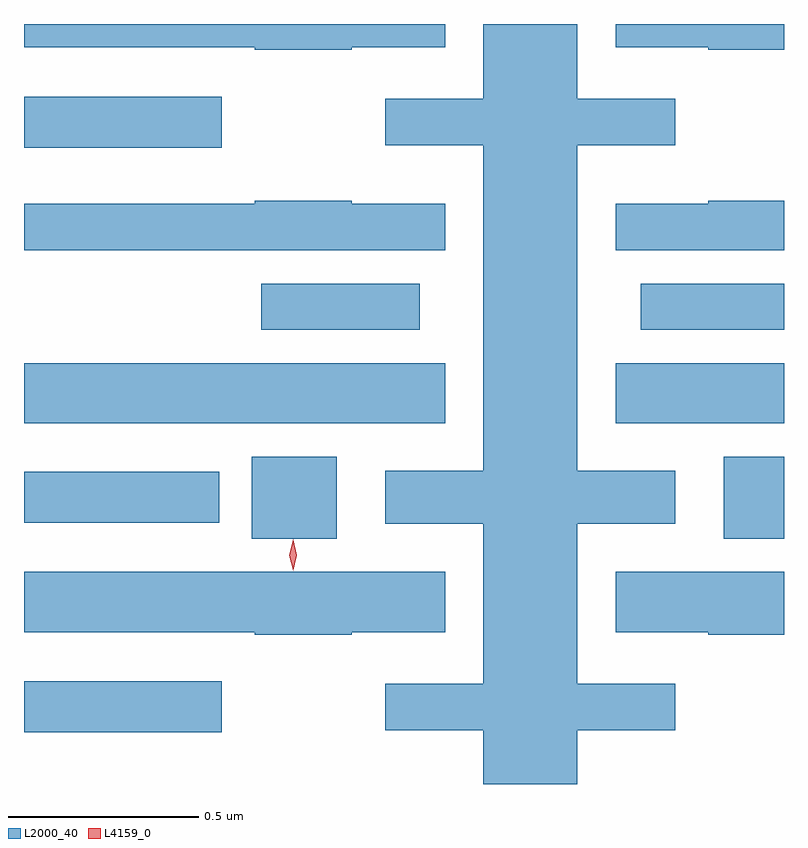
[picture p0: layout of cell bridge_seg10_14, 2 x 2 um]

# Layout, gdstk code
import gdstk
lib = gdstk.Library(unit=1e-6, precision=1e-09)
def R(c, l, rs):  # rectangles x0, y0, x1, y1
    for r in rs: c.add(gdstk.rectangle(r[:2], r[2:], *l))
def P(c, l, *ps):  # polygons
    for p in ps: c.add(gdstk.Polygon(p, *l))
L2000_40 = (2000, 40)
L4159_0 = (4159, 0)

bridge_seg10_14 = lib.new_cell('bridge_seg10_14')
R(bridge_seg10_14, L2000_40, [(1055.268,1280.348,1055.788,1280.482), (1055.867,1280.858,1056.091,1281.073), (1057.109,1280.858,1057.268,1281.073), (1055.268,1280.9,1055.782,1281.034), (1055.268,1281.161,1056.376,1281.319), (1056.825,1281.161,1057.268,1281.319), (1055.892,1281.407,1056.31,1281.529), (1056.891,1281.407,1057.268,1281.529), (1055.268,1281.887,1055.788,1282.021)])
P(bridge_seg10_14, L2000_40, [(1056.724,1280.354),(1056.982,1280.354),(1056.982,1280.476),(1056.724,1280.476),(1056.724,1280.897),(1056.982,1280.897),(1056.982,1281.037),(1056.724,1281.037),(1056.724,1281.893),(1056.982,1281.893),(1056.982,1282.015),(1056.724,1282.015),(1056.724,1282.212),(1056.476,1282.212),(1056.476,1282.015),(1056.219,1282.015),(1056.219,1281.893),(1056.476,1281.893),(1056.476,1281.037),(1056.219,1281.037),(1056.219,1280.897),(1056.476,1280.897),(1056.476,1280.476),(1056.219,1280.476),(1056.219,1280.354),(1056.476,1280.354),(1056.476,1280.212),(1056.724,1280.212)],
  [(1057.268,1282.212),(1056.825,1282.212),(1056.825,1282.151),(1057.069,1282.151),(1057.069,1282.144),(1057.268,1282.144)],
  [(1056.131,1282.151),(1056.376,1282.151),(1056.376,1282.212),(1055.268,1282.212),(1055.268,1282.151),(1055.875,1282.151),(1055.875,1282.144),(1056.131,1282.144)],
  [(1057.268,1281.747),(1057.069,1281.747),(1057.069,1281.739),(1056.825,1281.739),(1056.825,1281.617),(1057.268,1281.617)],
  [(1056.376,1281.739),(1056.131,1281.739),(1056.131,1281.747),(1055.875,1281.747),(1055.875,1281.739),(1055.268,1281.739),(1055.268,1281.617),(1056.376,1281.617)],
  [(1057.268,1280.77),(1056.825,1280.77),(1056.825,1280.612),(1057.069,1280.612),(1057.069,1280.605),(1057.268,1280.605)],
  [(1056.131,1280.612),(1056.376,1280.612),(1056.376,1280.77),(1055.268,1280.77),(1055.268,1280.612),(1055.875,1280.612),(1055.875,1280.605),(1056.131,1280.605)])
P(bridge_seg10_14, L4159_0, [(1055.976,1280.773),(1055.976,1280.774),(1055.966,1280.814),(1055.976,1280.855),(1055.976,1280.856),(1055.976,1280.855),(1055.986,1280.814),(1055.976,1280.774)])

lib.write_gds('bridge_seg10_14.gds')
